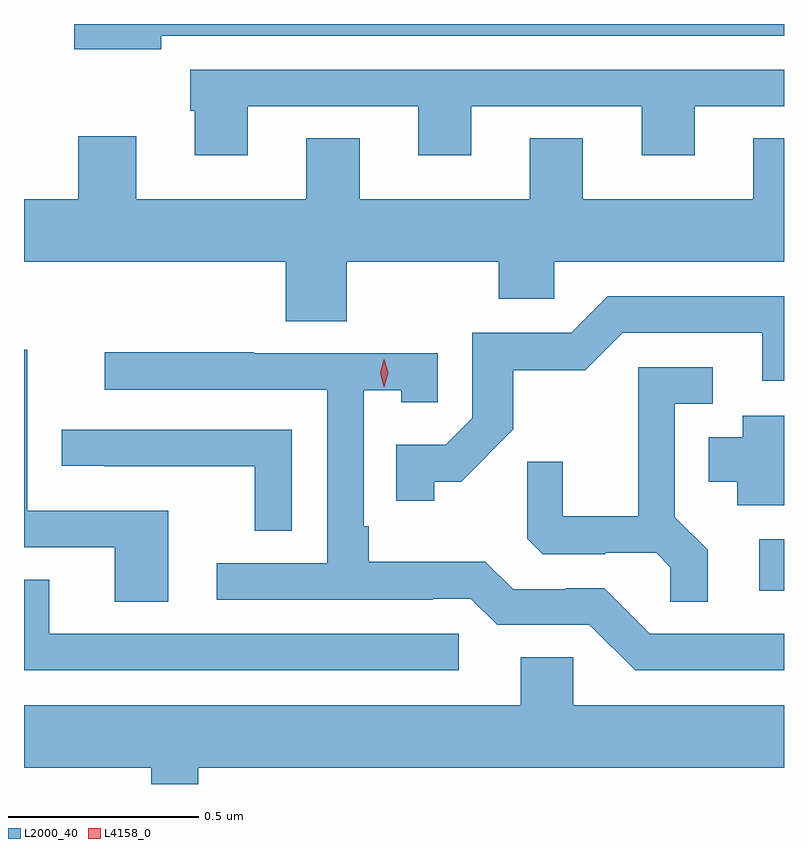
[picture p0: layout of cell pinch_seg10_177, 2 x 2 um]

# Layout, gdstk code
import gdstk
lib = gdstk.Library(unit=1e-6, precision=1e-09)
def R(c, l, rs):  # rectangles x0, y0, x1, y1
    for r in rs: c.add(gdstk.rectangle(r[:2], r[2:], *l))
def P(c, l, *ps):  # polygons
    for p in ps: c.add(gdstk.Polygon(p, *l))
L2000_40 = (2000, 40)
L4158_0 = (4158, 0)

pinch_seg10_177 = lib.new_cell('pinch_seg10_177')
R(pinch_seg10_177, L2000_40, [(685.527,1260.821,685.592,1260.957)])
P(pinch_seg10_177, L2000_40, [(683.953,1262.282),(685.592,1262.282),(685.592,1262.313),(683.724,1262.313),(683.724,1262.246),(683.953,1262.246)],
  [(684.181,1262.097),(684.629,1262.097),(684.629,1261.968),(684.769,1261.968),(684.769,1262.097),(685.217,1262.097),(685.217,1261.968),(685.357,1261.968),(685.357,1262.097),(685.592,1262.097),(685.592,1262.193),(684.029,1262.193),(684.029,1262.085),(684.041,1262.085),(684.041,1261.968),(684.181,1261.968)],
  [(684.441,1261.688),(684.841,1261.688),(684.841,1261.59),(684.987,1261.59),(684.987,1261.688),(685.592,1261.688),(685.592,1262.012),(685.511,1262.012),(685.511,1261.852),(685.063,1261.852),(685.063,1262.012),(684.923,1262.012),(684.923,1261.852),(684.475,1261.852),(684.475,1262.012),(684.335,1262.012),(684.335,1261.852),(683.887,1261.852),(683.887,1262.017),(683.735,1262.017),(683.735,1261.852),(683.592,1261.852),(683.592,1261.688),(684.281,1261.688),(684.281,1261.531),(684.441,1261.531)],
  [(684.672,1261.109),(684.742,1261.109),(684.88,1261.246),(684.88,1261.402),(685.069,1261.402),(685.167,1261.5),(685.535,1261.5),(685.535,1261.374),(685.592,1261.374),(685.592,1261.596),(685.128,1261.596),(685.032,1261.5),(684.771,1261.5),(684.771,1261.275),(684.702,1261.206),(684.571,1261.206),(684.571,1261.059),(684.672,1261.059)],
  [(683.971,1261.032),(683.601,1261.032),(683.601,1261.456),(683.592,1261.456),(683.592,1260.936),(683.831,1260.936),(683.831,1260.793),(683.971,1260.793)],
  [(685.592,1260.708),(685.239,1260.708),(685.119,1260.828),(685.018,1260.828),(685.018,1260.825),(684.879,1260.825),(684.806,1260.898),(684.499,1260.898),(684.499,1260.991),(684.486,1260.991),(684.486,1261.349),(684.585,1261.349),(684.585,1261.317),(684.681,1261.317),(684.681,1261.446),(684.197,1261.446),(684.197,1261.449),(683.805,1261.449),(683.805,1261.35),(684.39,1261.35),(684.39,1260.894),(684.099,1260.894),(684.099,1260.798),(684.668,1260.798),(684.668,1260.801),(684.768,1260.801),(684.837,1260.732),(685.08,1260.732),(685.2,1260.612),(685.592,1260.612)],
  [(685.391,1260.929),(685.305,1261.015),(685.305,1261.314),(685.405,1261.314),(685.405,1261.41),(685.208,1261.41),(685.208,1261.018),(685.01,1261.018),(685.01,1261.161),(684.916,1261.161),(684.916,1260.959),(684.957,1260.918),(685.122,1260.918),(685.122,1260.921),(685.256,1260.921),(685.293,1260.884),(685.293,1260.793),(685.391,1260.793)],
  [(685.592,1261.282),(685.484,1261.282),(685.484,1261.225),(685.394,1261.225),(685.394,1261.109),(685.469,1261.109),(685.469,1261.046),(685.592,1261.046)],
  [(684.297,1261.245),(683.691,1261.245),(683.691,1261.15),(683.803,1261.15),(683.803,1261.149),(684.199,1261.149),(684.199,1260.979),(684.297,1260.979)],
  [(684.736,1260.708),(683.659,1260.708),(683.659,1260.851),(683.592,1260.851),(683.592,1260.612),(684.736,1260.612)],
  [(684.05,1260.356),(685.592,1260.356),(685.592,1260.52),(685.038,1260.52),(685.038,1260.647),(684.899,1260.647),(684.899,1260.52),(683.592,1260.52),(683.592,1260.356),(683.927,1260.356),(683.927,1260.313),(684.05,1260.313)])
P(pinch_seg10_177, L4158_0, [(684.539,1261.359),(684.53,1261.395),(684.539,1261.43),(684.54,1261.431),(684.54,1261.43),(684.55,1261.395),(684.54,1261.359),(684.54,1261.359)])

lib.write_gds('pinch_seg10_177.gds')
